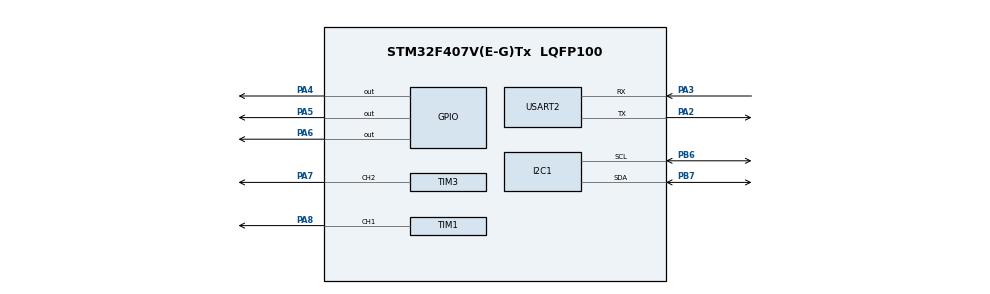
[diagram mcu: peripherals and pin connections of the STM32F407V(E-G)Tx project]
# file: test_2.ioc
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I2C1.I2C_Mode=I2C_Fast
Mcu.Family=STM32F4
Mcu.Name=STM32F407V(E-G)Tx
Mcu.Package=LQFP100
NVIC.PriorityGroup=NVIC_PRIORITYGROUP_4
PA13.Mode=Serial_Wire
PA13.Signal=SYS_JTMS-SWDIO
PA14.Mode=Serial_Wire
PA14.Signal=SYS_JTCK-SWCLK
PA2.Mode=Asynchronous
PA2.Signal=USART2_TX
PA3.Mode=Asynchronous
PA3.Signal=USART2_RX
PA4.Signal=GPIO_Output
PA5.Signal=GPIO_Output
PA6.Signal=GPIO_Output
PA7.Signal=S_TIM3_CH2
PA8.Signal=S_TIM1_CH1
PB6.Mode=I2C
PB6.Signal=I2C1_SCL
PB7.Mode=I2C
PB7.Signal=I2C1_SDA
PH0-OSC_IN.Mode=HSE-External-Oscillator
PH0-OSC_IN.Signal=RCC_OSC_IN
PH1-OSC_OUT.Mode=HSE-External-Oscillator
PH1-OSC_OUT.Signal=RCC_OSC_OUT
ProjectManager.HeapSize=0x200
ProjectManager.StackSize=0x400
ProjectManager.TargetToolchain=STM32CubeIDE
RCC.48MHZClocksFreq_Value=84000000
RCC.AHBFreq_Value=168000000
RCC.APB1CLKDivider=RCC_HCLK_DIV4
RCC.APB1Freq_Value=42000000
RCC.APB1TimFreq_Value=84000000
RCC.APB2CLKDivider=RCC_HCLK_DIV2
RCC.APB2Freq_Value=84000000
RCC.APB2TimFreq_Value=168000000
RCC.CortexFreq_Value=168000000
RCC.HCLKFreq_Value=168000000
RCC.HSE_VALUE=8000000
RCC.HSI_VALUE=16000000
RCC.LSE_VALUE=32768
RCC.PLLM=8
RCC.PLLN=336
RCC.PLLSourceVirtual=RCC_PLLSOURCE_HSE
RCC.SYSCLKFreq_VALUE=168000000
RCC.SYSCLKSource=RCC_SYSCLKSOURCE_PLLCLK
RCC.VCOOutputFreq_Value=336000000
SH.S_TIM1_CH1.0=TIM1_CH1,PWM Generation1 CH1
SH.S_TIM3_CH2.0=TIM3_CH2,PWM Generation2 CH2
TIM1.AutoReloadPreload=TIM_AUTORELOAD_PRELOAD_ENABLE
TIM1.Channel-PWM\ Generation1\ CH1=TIM_CHANNEL_1
TIM1.Period=2000-1
TIM1.Prescaler=84-1
TIM1.Pulse-PWM\ Generation1\ CH1=1000
TIM3.Channel-PWM\ Generation2\ CH2=TIM_CHANNEL_2
TIM3.Period=1000-1
TIM3.Prescaler=168-1
USART2.VirtualMode=VM_ASYNC
VP_TIM1_VS_ClockSourceINT.Mode=Internal
board=custom

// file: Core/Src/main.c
/* USER CODE BEGIN Header */
/**
******************************************************************************
* @file : main.c
* @brief : Main program body
******************************************************************************
* @attention
*
* Copyright (c) 2026 STMicroelectronics.
* All rights reserved.
*
* This software is licensed under terms that can be found in the LICENSE file
* in the root directory of this software component.
* If no LICENSE file comes with this software, it is provided AS-IS.
*
******************************************************************************
*/
/* USER CODE END Header */
#include "main.h"

/* USER CODE BEGIN Includes */
#include <stdio.h>
#include <string.h>
#include <math.h>
/* USER CODE END Includes */

/* USER CODE BEGIN PTD */
// ==================== 数据类型定义 ====================
typedef struct {
int16_t x;
int16_t y;
int16_t z;
} imu_vector_t;

typedef struct {
imu_vector_t accel;
imu_vector_t gyro;
imu_vector_t mag;
int16_t temperature;
} imu_9dof_data_t;

// ==================== 姿态数据结构 ====================
typedef struct {
float roll;
float pitch;
float heading;
} attitude_t;

// ==================== 电机动作状态枚举 ====================
typedef enum {
ACTION_STOP,
ACTION_FORWARD,
ACTION_BACKWARD
} MotorAction_t;
/* USER CODE END PTD */

/* USER CODE BEGIN PD */
// ==================== ICM20600 定义 ====================
#define ICM20600_WHO_AM_I 0x75
#define ICM20600_WHO_AM_I_VALUE 0x11
#define ICM20600_PWR_MGMT_1 0x6B
#define ICM20600_PWR_MGMT_2 0x6C
#define ICM20600_ACCEL_CONFIG 0x1C
#define ICM20600_GYRO_CONFIG 0x1B
#define ICM20600_CONFIG 0x1A
#define ICM20600_ACCEL_XOUT_H 0x3B
#define ICM20600_GYRO_XOUT_H 0x43
#define ICM20600_TEMP_OUT_H 0x41

// ==================== AK09918 定义 ====================
#define AK09918_ADDRESS (0x0C << 1)
#define AK09918_WIA1 0x00
#define AK09918_WIA2 0x01
#define AK09918_COMPANY_ID 0x48
#define AK09918_DEVICE_ID 0x0C
#define AK09918_HXL 0x11
#define AK09918_CNTL2 0x31
#define AK09918_CNTL1 0x30
#define AK09918_ST1 0x10
#define AK09918_ST2 0x18
#define AK09918_MODE_POWER_DOWN 0x00
#define AK09918_MODE_CONTINUOUS_100HZ 0x08

// ==================== 电机控制参数 ====================
#define TARGET_ROLL 0.0f // 目标横滚角 (度)
#define TARGET_PITCH 5.0f // 目标俯仰角 (度)
#define ANGLE_DEADBAND 1.5f // 死区大小 (±1.5度)
#define ANGLE_HYSTERESIS 0.5f // 滞回值
/* USER CODE END PD */

I2C_HandleTypeDef hi2c1;

TIM_HandleTypeDef htim1;
TIM_HandleTypeDef htim3;

UART_HandleTypeDef huart2;

/* USER CODE BEGIN PV */
// ==================== 全局变量 ====================
uint8_t imu_initialized = 0;
uint8_t icm20600_addr = 0x69;
uint32_t i2c_error_count = 0;

imu_9dof_data_t imu_data;
attitude_t attitude;

// 电机状态变量
static MotorAction_t roll_action = ACTION_STOP;
static MotorAction_t pitch_action = ACTION_STOP;
/* USER CODE END PV */

void SystemClock_Config(void);
static void MX_GPIO_Init(void);
static void MX_I2C1_Init(void);
static void MX_USART2_UART_Init(void);
static void MX_TIM1_Init(void);
static void MX_TIM3_Init(void);
/* USER CODE BEGIN PFP */
// ==================== IMU函数声明 ====================
void I2C_Init(void);
void I2C_RecoverBus(void);
uint8_t ICM20600_Check(void);
uint8_t ICM20600_Init(void);
HAL_StatusTypeDef ICM20600_ReadAccel(imu_vector_t *accel);
HAL_StatusTypeDef ICM20600_ReadGyro(imu_vector_t *gyro);
HAL_StatusTypeDef ICM20600_ReadTemp(int16_t *temp);
uint8_t AK09918_Check(void);
uint8_t AK09918_Init(void);
uint8_t AK09918_ReadMag(imu_vector_t *mag);
uint8_t IMU_Init(void);
uint8_t IMU_ReadAll(imu_9dof_data_t *data);
void CalculateAttitude(imu_9dof_data_t *data, attitude_t *att);
void PrintAttitude(attitude_t *att);
void I2C_Scan(void);

// ==================== 电机控制函数声明 ====================
static void Control_Roll(float current_roll);
static void Control_Pitch(float current_pitch);
static void Set_Roll_Motor(MotorAction_t action);
static void Set_Pitch_Motor(MotorAction_t action);
/* USER CODE END PFP */

/* USER CODE BEGIN 0 */
// ==================== I2C读写函数 ====================
uint8_t I2C_ReadReg(uint16_t dev_addr, uint8_t reg, uint8_t *data) {
return HAL_I2C_Mem_Read(&hi2c1, dev_addr, reg, I2C_MEMADD_SIZE_8BIT, data, 1, 100);
}

uint8_t I2C_WriteReg(uint16_t dev_addr, uint8_t reg, uint8_t data) {
return HAL_I2C_Mem_Write(&hi2c1, dev_addr, reg, I2C_MEMADD_SIZE_8BIT, &data, 1, 100);
}

uint8_t I2C_ReadRegs(uint16_t dev_addr, uint8_t reg, uint8_t *data, uint8_t len) {
return HAL_I2C_Mem_Read(&hi2c1, dev_addr, reg, I2C_MEMADD_SIZE_8BIT, data, len, 100);
}

// ==================== 重定向printf ====================
int fputc(int ch, FILE *f) {
HAL_UART_Transmit(&huart2, (uint8_t *)&ch, 1, 100);
return ch;
}

// ==================== I2C总线恢复函数 ====================
void I2C_RecoverBus(void) {
GPIO_InitTypeDef GPIO_InitStruct = {0};

printf("\r\n⚠️ I2C bus error detected! Recovering...\r\n");

HAL_I2C_DeInit(&hi2c1);

GPIO_InitStruct.Pin = GPIO_PIN_6 | GPIO_PIN_7;
GPIO_InitStruct.Mode = GPIO_MODE_OUTPUT_PP;
GPIO_InitStruct.Pull = GPIO_NOPULL;
GPIO_InitStruct.Speed = GPIO_SPEED_FREQ_LOW;
HAL_GPIO_Init(GPIOB, &GPIO_InitStruct);

for(int i = 0; i < 9; i++) {
HAL_GPIO_WritePin(GPIOB, GPIO_PIN_6, GPIO_PIN_SET);
HAL_Delay(1);
HAL_GPIO_WritePin(GPIOB, GPIO_PIN_6, GPIO_PIN_RESET);
HAL_Delay(1);
}

HAL_GPIO_WritePin(GPIOB, GPIO_PIN_7, GPIO_PIN_RESET);
HAL_GPIO_WritePin(GPIOB, GPIO_PIN_6, GPIO_PIN_SET);
HAL_Delay(1);
HAL_GPIO_WritePin(GPIOB, GPIO_PIN_7, GPIO_PIN_SET);
HAL_Delay(1);

HAL_Delay(10);
I2C_Init();

printf("I2C bus recovered!\r\n");
i2c_error_count = 0;
}

// ==================== I2C初始化 ====================
void I2C_Init(void) {
__HAL_RCC_I2C1_CLK_ENABLE();
__HAL_RCC_GPIOB_CLK_ENABLE();

GPIO_InitTypeDef GPIO_InitStruct = {0};
GPIO_InitStruct.Pin = GPIO_PIN_6 | GPIO_PIN_7;
GPIO_InitStruct.Mode = GPIO_MODE_AF_OD;
GPIO_InitStruct.Pull = GPIO_PULLUP;
GPIO_InitStruct.Speed = GPIO_SPEED_FREQ_VERY_HIGH;
GPIO_InitStruct.Alternate = GPIO_AF4_I2C1;
HAL_GPIO_Init(GPIOB, &GPIO_InitStruct);

hi2c1.Instance = I2C1;
hi2c1.Init.ClockSpeed = 100000;
hi2c1.Init.DutyCycle = I2C_DUTYCYCLE_2;
hi2c1.Init.OwnAddress1 = 0;
hi2c1.Init.AddressingMode = I2C_ADDRESSINGMODE_7BIT;
hi2c1.Init.DualAddressMode = I2C_DUALADDRESS_DISABLE;
hi2c1.Init.OwnAddress2 = 0;
hi2c1.Init.GeneralCallMode = I2C_GENERALCALL_DISABLE;
hi2c1.Init.NoStretchMode = I2C_NOSTRETCH_DISABLE;
HAL_I2C_Init(&hi2c1);
}

// ==================== I2C扫描函数 ====================
void I2C_Scan(void) {
uint8_t found_devices = 0;
char buf[32];

HAL_UART_Transmit(&huart2, (uint8_t*)"\r\nScanning I2C bus...\r\n", 25, 100);

for (uint8_t addr = 1; addr < 127; addr++) {
if (HAL_I2C_IsDeviceReady(&hi2c1, (addr << 1), 3, 50) == HAL_OK) {
sprintf(buf, "Found device at 0x%02X\r\n", addr);
HAL_UART_Transmit(&huart2, (uint8_t*)buf, strlen(buf), 100);
found_devices++;
}
}

if (found_devices == 0) {
HAL_UART_Transmit(&huart2, (uint8_t*)"No I2C devices found!\r\n", 24, 100);
} else {
sprintf(buf, "Total %d devices found\r\n", found_devices);
HAL_UART_Transmit(&huart2, (uint8_t*)buf, strlen(buf), 100);
}
}

// ==================== ICM20600 函数 ====================
uint8_t ICM20600_Check(void) {
uint8_t who_am_i = 0;
char buf[64];

if (HAL_I2C_Mem_Read(&hi2c1, (0x68 << 1), ICM20600_WHO_AM_I,
I2C_MEMADD_SIZE_8BIT, &who_am_i, 1, 100) == HAL_OK) {
if (who_am_i == ICM20600_WHO_AM_I_VALUE) {
icm20600_addr = 0x68;
sprintf(buf, "ICM20600 found at 0x68 (ID=0x%02X)\r\n", who_am_i);
HAL_UART_Transmit(&huart2, (uint8_t*)buf, strlen(buf), 100);
return 1;
}
}

if (HAL_I2C_Mem_Read(&hi2c1, (0x69 << 1), ICM20600_WHO_AM_I,
I2C_MEMADD_SIZE_8BIT, &who_am_i, 1, 100) == HAL_OK) {
if (who_am_i == ICM20600_WHO_AM_I_VALUE) {
icm20600_addr = 0x69;
sprintf(buf, "ICM20600 found at 0x69 (ID=0x%02X)\r\n", who_am_i);
HAL_UART_Transmit(&huart2, (uint8_t*)buf, strlen(buf), 100);
return 1;
}
}
return 0;
}

uint8_t ICM20600_Init(void) {
uint16_t dev_addr = icm20600_addr << 1;

printf(" Resetting...");
if (I2C_WriteReg(dev_addr, ICM20600_PWR_MGMT_1, 0x80) != HAL_OK) {
printf(" FAILED\r\n");
return 0;
}
printf(" OK\r\n");
HAL_Delay(100);

printf(" Waking up...");
if (I2C_WriteReg(dev_addr, ICM20600_PWR_MGMT_1, 0x01) != HAL_OK) {
printf(" FAILED\r\n");
return 0;
}
printf(" OK\r\n");
HAL_Delay(10);

printf(" Configuring gyro...");
I2C_WriteReg(dev_addr, ICM20600_GYRO_CONFIG, 0x18);
printf(" OK\r\n");

printf(" Configuring accel...");
I2C_WriteReg(dev_addr, ICM20600_ACCEL_CONFIG, 0x18);
printf(" OK\r\n");

printf(" Configuring filter...");
I2C_WriteReg(dev_addr, ICM20600_CONFIG, 0x01);
printf(" OK\r\n");

return 1;
}

HAL_StatusTypeDef ICM20600_ReadAccel(imu_vector_t *accel) {
uint16_t dev_addr = icm20600_addr << 1;
uint8_t data[6];
HAL_StatusTypeDef status = I2C_ReadRegs(dev_addr, ICM20600_ACCEL_XOUT_H, data, 6);

if (status == HAL_OK) {
accel->x = (int16_t)(data[0] << 8 | data[1]);
accel->y = (int16_t)(data[2] << 8 | data[3]);
accel->z = (int16_t)(data[4] << 8 | data[5]);
}
return status;
}

HAL_StatusTypeDef ICM20600_ReadGyro(imu_vector_t *gyro) {
uint16_t dev_addr = icm20600_addr << 1;
uint8_t data[6];
HAL_StatusTypeDef status = I2C_ReadRegs(dev_addr, ICM20600_GYRO_XOUT_H, data, 6);

if (status == HAL_OK) {
gyro->x = (int16_t)(data[0] << 8 | data[1]);
gyro->y = (int16_t)(data[2] << 8 | data[3]);
gyro->z = (int16_t)(data[4] << 8 | data[5]);
}
return status;
}

HAL_StatusTypeDef ICM20600_ReadTemp(int16_t *temp) {
uint16_t dev_addr = icm20600_addr << 1;
uint8_t data[2];
HAL_StatusTypeDef status = I2C_ReadRegs(dev_addr, ICM20600_TEMP_OUT_H, data, 2);

if (status == HAL_OK) {
*temp = (int16_t)(data[0] << 8 | data[1]);
}
return status;
}

// ==================== AK09918 函数 ====================
uint8_t AK09918_Check(void) {
uint8_t company_id = 0;
uint8_t device_id = 0;
char buf[64];

if (HAL_I2C_Mem_Read(&hi2c1, AK09918_ADDRESS, AK09918_WIA1,
I2C_MEMADD_SIZE_8BIT, &company_id, 1, 100) == HAL_OK) {
HAL_I2C_Mem_Read(&hi2c1, AK09918_ADDRESS, AK09918_WIA2,
I2C_MEMADD_SIZE_8BIT, &device_id, 1, 100);

sprintf(buf, "AK09918 Company ID=0x%02X, Device ID=0x%02X\r\n", company_id, device_id);
HAL_UART_Transmit(&huart2, (uint8_t*)buf, strlen(buf), 100);

return (company_id == AK09918_COMPANY_ID && device_id == AK09918_DEVICE_ID);
}
return 0;
}

uint8_t AK09918_Init(void) {
uint8_t status;
uint8_t chip_id;
uint8_t cntl1_val;
uint8_t cntl2_val;
uint8_t test_val;

printf("\r\n=== AK09918 Debug ===\r\n");

I2C_ReadReg(AK09918_ADDRESS, AK09918_WIA2, &chip_id);
printf("WIA2 = 0x%02X (should be 0x%02X)\r\n", chip_id, AK09918_DEVICE_ID);

if (chip_id != AK09918_DEVICE_ID) {
printf("❌ AK09918 ID mismatch!\r\n");
return 0;
}

I2C_ReadReg(AK09918_ADDRESS, 0x31, &cntl2_val);
I2C_ReadReg(AK09918_ADDRESS, 0x30, &cntl1_val);
printf("Before init - CNTL1=0x%02X, CNTL2=0x%02X\r\n", cntl1_val, cntl2_val);

I2C_WriteReg(AK09918_ADDRESS, 0x32, 0x01);
HAL_Delay(10);

I2C_ReadReg(AK09918_ADDRESS, 0x31, &cntl2_val);
I2C_ReadReg(AK09918_ADDRESS, 0x30, &cntl1_val);
printf("After reset - CNTL1=0x%02X, CNTL2=0x%02X\r\n", cntl1_val, cntl2_val);

printf("Setting power down mode...");
I2C_WriteReg(AK09918_ADDRESS, AK09918_CNTL2, AK09918_MODE_POWER_DOWN);
HAL_Delay(10);
I2C_ReadReg(AK09918_ADDRESS, 0x31, &cntl2_val);
printf(" CNTL2=0x%02X\r\n", cntl2_val);

printf("Setting continuous mode 100Hz...");
if (I2C_WriteReg(AK09918_ADDRESS, AK09918_CNTL2, AK09918_MODE_CONTINUOUS_100HZ) != HAL_OK) {
printf(" FAILED\r\n");
return 0;
}
HAL_Delay(10);

I2C_ReadReg(AK09918_ADDRESS, AK09918_CNTL2, &status);
printf(" CNTL2=0x%02X ", status);

I2C_ReadReg(AK09918_ADDRESS, AK09918_CNTL1, &cntl1_val);
printf("CNTL1=0x%02X\r\n", cntl1_val);

I2C_WriteReg(AK09918_ADDRESS, 0x30, 0x5A);
HAL_Delay(1);
I2C_ReadReg(AK09918_ADDRESS, 0x30, &test_val);
printf("Write test - wrote 0x5A, read 0x%02X\r\n", test_val);

I2C_WriteReg(AK09918_ADDRESS, 0x30, cntl1_val);

printf("=== End Debug ===\r\n");

return (status == AK09918_MODE_CONTINUOUS_100HZ);
}

uint8_t AK09918_ReadMag(imu_vector_t *mag) {
uint8_t data[6];
uint8_t st1, st2;

I2C_ReadReg(AK09918_ADDRESS, AK09918_ST1, &st1);

if (!(st1 & 0x01)) {
static uint32_t no_data_cnt = 0;
if (no_data_cnt++ % 50 == 0) {
printf("No mag data (ST1=0x%02X)\r\n", st1);
}
return 0;
}

if (I2C_ReadRegs(AK09918_ADDRESS, AK09918_HXL, data, 6) == HAL_OK) {
mag->x = (int16_t)(data[1] << 8 | data[0]);
mag->y = (int16_t)(data[3] << 8 | data[2]);
mag->z = (int16_t)(data[5] << 8 | data[4]);

I2C_ReadReg(AK09918_ADDRESS, AK09918_ST2, &st2);

static uint32_t print_cnt = 0;
if (print_cnt++ % 10 == 0 || mag->x != 0 || mag->y != 0) {
printf("\r\nAK09918: ST1=0x%02X, ST2=0x%02X, X=%6d Y=%6d Z=%6d ",
st1, st2, mag->x, mag->y, mag->z);
}

return 1;
}
return 0;
}

// ==================== IMU综合函数 ====================
uint8_t IMU_Init(void) {
HAL_UART_Transmit(&huart2, (uint8_t*)"\r\nChecking ICM20600...\r\n", 25, 100);

if (!ICM20600_Check()) {
HAL_UART_Transmit(&huart2, (uint8_t*)"❌ ICM20600 not detected!\r\n", 28, 100);
return 0;
}

HAL_UART_Transmit(&huart2, (uint8_t*)"Checking AK09918...\r\n", 22, 100);
if (!AK09918_Check()) {
HAL_UART_Transmit(&huart2, (uint8_t*)"❌ AK09918 not detected!\r\n", 27, 100);
return 0;
}

HAL_UART_Transmit(&huart2, (uint8_t*)"Initializing ICM20600...\r\n", 26, 100);
if (!ICM20600_Init()) {
HAL_UART_Transmit(&huart2, (uint8_t*)" FAILED\r\n", 10, 100);
return 0;
}
HAL_UART_Transmit(&huart2, (uint8_t*)" OK\r\n", 6, 100);

HAL_UART_Transmit(&huart2, (uint8_t*)"Initializing AK09918...\r\n", 25, 100);
if (!AK09918_Init()) {
HAL_UART_Transmit(&huart2, (uint8_t*)" FAILED\r\n", 10, 100);
return 0;
}
HAL_UART_Transmit(&huart2, (uint8_t*)" OK\r\n", 6, 100);

return 1;
}

uint8_t IMU_ReadAll(imu_9dof_data_t *data) {
uint8_t success = 1;

if (ICM20600_ReadAccel(&data->accel) != HAL_OK) success = 0;
if (ICM20600_ReadGyro(&data->gyro) != HAL_OK) success = 0;
if (ICM20600_ReadTemp(&data->temperature) != HAL_OK) success = 0;

AK09918_ReadMag(&data->mag);

return success;
}

// ==================== 姿态计算函数 ====================
void CalculateAttitude(imu_9dof_data_t *data, attitude_t *att) {
float ax = data->accel.x * 16.0f / 32768.0f;
float ay = data->accel.y * 16.0f / 32768.0f;
float az = data->accel.z * 16.0f / 32768.0f;

float mx = data->mag.x * 0.15f;
float my = data->mag.y * 0.15f;
float mz = data->mag.z * 0.15f;

att->roll = atan2f(ay, az);
float accel_norm = sqrtf(ay*ay + az*az);
att->pitch = atan2f(-ax, accel_norm);

float cos_roll = cosf(att->roll);
float sin_roll = sinf(att->roll);
float cos_pitch = cosf(att->pitch);
float sin_pitch = sinf(att->pitch);

float Xh = mx * cos_pitch + my * sin_roll * sin_pitch + mz * cos_roll * sin_pitch;
float Yh = my * cos_roll - mz * sin_roll;

float heading_rad = atan2f(Yh, Xh);
att->heading = heading_rad * 180.0f / 3.14159f;

att->heading += -2.0f;

if (att->heading < 0) att->heading += 360.0f;
if (att->heading >= 360.0f) att->heading -= 360.0f;

att->roll *= 180.0f / 3.14159f;
att->pitch *= 180.0f / 3.14159f;
}

// ==================== 打印姿态函数 ====================
void PrintAttitude(attitude_t *att) {
char buffer[64];
sprintf(buffer, "\r\nRoll: %6.2f° Pitch: %6.2f° Heading: %6.2f° ",
att->roll, att->pitch, att->heading);
HAL_UART_Transmit(&huart2, (uint8_t*)buffer, strlen(buffer), 100);
}
/* USER CODE BEGIN 4 */
// ==================== 新增：打印PA4-PA8引脚状态 ====================
void Print_GPIO_Status(void) {
char buffer[64];

// 读取GPIOA端口的输入数据寄存器
uint16_t gpio_idr = GPIOA->IDR;

// 解析每个引脚的状态 (0 或 1)
uint8_t pa4_state = (gpio_idr & GPIO_PIN_4) ? 1 : 0;
uint8_t pa5_state = (gpio_idr & GPIO_PIN_5) ? 1 : 0;
uint8_t pa6_state = (gpio_idr & GPIO_PIN_6) ? 1 : 0;
uint8_t pa7_state = (gpio_idr & GPIO_PIN_7) ? 1 : 0;
uint8_t pa8_state = (gpio_idr & GPIO_PIN_8) ? 1 : 0;

// 检查PWM是否正在输出 (对于PA7和PA8，可以通过定时器状态判断)
uint8_t tim1_running = (htim1.State == HAL_TIM_STATE_BUSY) ? 1 : 0;
uint8_t tim3_running = (htim3.State == HAL_TIM_STATE_BUSY) ? 1 : 0;

sprintf(buffer, "GPIO: PA4=%d PA5=%d PA6=%d | PWM: PA7(TIM3)=%d PA8(TIM1)=%d | TIM1:%d TIM3:%d\r\n",
pa4_state, pa5_state, pa6_state,
pa7_state, pa8_state,
tim1_running, tim3_running);

HAL_UART_Transmit(&huart2, (uint8_t*)buffer, strlen(buffer), 100);
}
// ==================== 电机控制函数 ====================
static void Set_Roll_Motor(MotorAction_t action) {
switch (action) {
case ACTION_STOP:
// 停止步进电机 - 停止发送脉冲
HAL_TIM_PWM_Stop(&htim1, TIM_CHANNEL_1);
break;
case ACTION_FORWARD:
// 设置方向为正转 (假设PA4高电平为正转)
HAL_GPIO_WritePin(GPIOA, GPIO_PIN_4, GPIO_PIN_SET);
// 启动PWM输出脉冲
__HAL_TIM_SET_COMPARE(&htim1, TIM_CHANNEL_1, 1000); // 50%占空比
HAL_TIM_PWM_Start(&htim1, TIM_CHANNEL_1);
break;
case ACTION_BACKWARD:
// 设置方向为反转 (假设PA4低电平为反转)
HAL_GPIO_WritePin(GPIOA, GPIO_PIN_4, GPIO_PIN_RESET);
// 启动PWM输出脉冲
__HAL_TIM_SET_COMPARE(&htim1, TIM_CHANNEL_1, 1000);
HAL_TIM_PWM_Start(&htim1, TIM_CHANNEL_1);
break;
}
}

static void Set_Pitch_Motor(MotorAction_t action) {
switch (action) {
case ACTION_STOP:
// 停止推杆 - PWM设为0
__HAL_TIM_SET_COMPARE(&htim3, TIM_CHANNEL_2, 0);
HAL_GPIO_WritePin(GPIOA, GPIO_PIN_6, GPIO_PIN_RESET);
break;
case ACTION_FORWARD:
// 推杆伸出 (假设PA6高电平为伸出)
HAL_GPIO_WritePin(GPIOA, GPIO_PIN_6, GPIO_PIN_SET);
// 设置PWM为合适速度 (500 = 50%占空比)
__HAL_TIM_SET_COMPARE(&htim3, TIM_CHANNEL_2, 500);
HAL_TIM_PWM_Start(&htim3, TIM_CHANNEL_2);
break;
case ACTION_BACKWARD:
// 推杆缩回 (假设PA6低电平为缩回)
HAL_GPIO_WritePin(GPIOA, GPIO_PIN_6, GPIO_PIN_RESET);
// 设置PWM为合适速度
__HAL_TIM_SET_COMPARE(&htim3, TIM_CHANNEL_2, 500);
HAL_TIM_PWM_Start(&htim3, TIM_CHANNEL_2);
break;
}
}

static void Control_Roll(float current_roll) {
float error = TARGET_ROLL - current_roll;

switch (roll_action) {
case ACTION_STOP:
if (error > (ANGLE_DEADBAND + ANGLE_HYSTERESIS)) {
roll_action = ACTION_FORWARD;
Set_Roll_Motor(ACTION_FORWARD);
printf("Roll Start Forward\r\n");
} else if (error < -(ANGLE_DEADBAND + ANGLE_HYSTERESIS)) {
roll_action = ACTION_BACKWARD;
Set_Roll_Motor(ACTION_BACKWARD);
printf("Roll Start Backward\r\n");
}
break;

case ACTION_FORWARD:
if (error < ANGLE_DEADBAND) {
roll_action = ACTION_STOP;
Set_Roll_Motor(ACTION_STOP);
printf("Roll Stop\r\n");
}
break;

case ACTION_BACKWARD:
if (error > -ANGLE_DEADBAND) {
roll_action = ACTION_STOP;
Set_Roll_Motor(ACTION_STOP);
printf("Roll Stop\r\n");
}
break;
}
}

static void Control_Pitch(float current_pitch) {
float error = TARGET_PITCH - current_pitch;

switch (pitch_action) {
case ACTION_STOP:
if (error > (ANGLE_DEADBAND + ANGLE_HYSTERESIS)) {
pitch_action = ACTION_FORWARD;
Set_Pitch_Motor(ACTION_FORWARD);
printf("Pitch Start Forward\r\n");
} else if (error < -(ANGLE_DEADBAND + ANGLE_HYSTERESIS)) {
pitch_action = ACTION_BACKWARD;
Set_Pitch_Motor(ACTION_BACKWARD);
printf("Pitch Start Backward\r\n");
}
break;

case ACTION_FORWARD:
if (error < ANGLE_DEADBAND) {
pitch_action = ACTION_STOP;
Set_Pitch_Motor(ACTION_STOP);
printf("Pitch Stop\r\n");
}
break;

case ACTION_BACKWARD:
if (error > -ANGLE_DEADBAND) {
pitch_action = ACTION_STOP;
Set_Pitch_Motor(ACTION_STOP);
printf("Pitch Stop\r\n");
}
break;
}
}
/* USER CODE END 0 */

int main(void)
{

/* Reset of all peripherals, Initializes the Flash interface and the Systick. */
HAL_Init();

/* Configure the system clock */
SystemClock_Config();

/* Initialize all configured peripherals */
MX_GPIO_Init();
MX_I2C1_Init();
MX_USART2_UART_Init();
MX_TIM1_Init();
MX_TIM3_Init();
/* USER CODE BEGIN 2 */
// 初始化I2C
printf("\r\n========================================\r\n");
printf("STM32F407 + ICM20600 + AK09918 Test\r\n");
printf("========================================\r\n\r\n");

printf("Initializing I2C...\r\n");
I2C_Init();

I2C_Scan();

imu_initialized = IMU_Init();

if (imu_initialized) {
printf("\r\n✅ IMU initialized successfully!\r\n");
printf("========================================\r\n\r\n");
} else {
printf("\r\n❌ IMU initialization failed!\r\n");
}

// 初始化电机控制引脚为停止状态
Set_Roll_Motor(ACTION_STOP);
Set_Pitch_Motor(ACTION_STOP);
/* USER CODE END 2 */

/* Infinite loop */
/* USER CODE BEGIN WHILE */
uint32_t count = 0;
while (1)
{
if (imu_initialized) {
IMU_ReadAll(&imu_data);
CalculateAttitude(&imu_data, &attitude);

// 每5次循环打印姿态和GPIO状态
if (count % 5 == 0) {
PrintAttitude(&attitude); // 打印姿态角
Print_GPIO_Status(); // 打印GPIO状态
}

// 每5次循环执行一次电机控制
if (count % 5 == 0) {
Control_Roll(attitude.roll);
Control_Pitch(attitude.pitch);
}

count++;
HAL_Delay(100);
} else {
printf(".");
fflush(stdout);
HAL_Delay(1000);
}
}
/* USER CODE END WHILE */

}

void SystemClock_Config(void)
{
RCC_OscInitTypeDef RCC_OscInitStruct = {0};
RCC_ClkInitTypeDef RCC_ClkInitStruct = {0};

/** Configure the main internal regulator output voltage
*/
__HAL_RCC_PWR_CLK_ENABLE();
__HAL_PWR_VOLTAGESCALING_CONFIG(PWR_REGULATOR_VOLTAGE_SCALE1);

/** Initializes the RCC Oscillators according to the specified parameters
* in the RCC_OscInitTypeDef structure.
*/
RCC_OscInitStruct.OscillatorType = RCC_OSCILLATORTYPE_HSE;
RCC_OscInitStruct.HSEState = RCC_HSE_ON;
RCC_OscInitStruct.PLL.PLLState = RCC_PLL_ON;
RCC_OscInitStruct.PLL.PLLSource = RCC_PLLSOURCE_HSE;
RCC_OscInitStruct.PLL.PLLM = 8;
RCC_OscInitStruct.PLL.PLLN = 336;
RCC_OscInitStruct.PLL.PLLP = RCC_PLLP_DIV2;
RCC_OscInitStruct.PLL.PLLQ = 4;
if (HAL_RCC_OscConfig(&RCC_OscInitStruct) != HAL_OK)
{
Error_Handler();
}

/** Initializes the CPU, AHB and APB buses clocks
*/
RCC_ClkInitStruct.ClockType = RCC_CLOCKTYPE_HCLK|RCC_CLOCKTYPE_SYSCLK
|RCC_CLOCKTYPE_PCLK1|RCC_CLOCKTYPE_PCLK2;
RCC_ClkInitStruct.SYSCLKSource = RCC_SYSCLKSOURCE_PLLCLK;
RCC_ClkInitStruct.AHBCLKDivider = RCC_SYSCLK_DIV1;
RCC_ClkInitStruct.APB1CLKDivider = RCC_HCLK_DIV4;
RCC_ClkInitStruct.APB2CLKDivider = RCC_HCLK_DIV2;

if (HAL_RCC_ClockConfig(&RCC_ClkInitStruct, FLASH_LATENCY_5) != HAL_OK)
{
Error_Handler();
}
}

static void MX_I2C1_Init(void)
{

hi2c1.Instance = I2C1;
hi2c1.Init.ClockSpeed = 400000;
hi2c1.Init.DutyCycle = I2C_DUTYCYCLE_2;
hi2c1.Init.OwnAddress1 = 0;
hi2c1.Init.AddressingMode = I2C_ADDRESSINGMODE_7BIT;
hi2c1.Init.DualAddressMode = I2C_DUALADDRESS_DISABLE;
hi2c1.Init.OwnAddress2 = 0;
hi2c1.Init.GeneralCallMode = I2C_GENERALCALL_DISABLE;
hi2c1.Init.NoStretchMode = I2C_NOSTRETCH_DISABLE;
if (HAL_I2C_Init(&hi2c1) != HAL_OK)
{
Error_Handler();
}

}

static void MX_TIM1_Init(void)
{

TIM_ClockConfigTypeDef sClockSourceConfig = {0};
TIM_MasterConfigTypeDef sMasterConfig = {0};
TIM_OC_InitTypeDef sConfigOC = {0};
TIM_BreakDeadTimeConfigTypeDef sBreakDeadTimeConfig = {0};

htim1.Instance = TIM1;
htim1.Init.Prescaler = 84-1;
htim1.Init.CounterMode = TIM_COUNTERMODE_UP;
htim1.Init.Period = 2000-1;
htim1.Init.ClockDivision = TIM_CLOCKDIVISION_DIV1;
htim1.Init.RepetitionCounter = 0;
htim1.Init.AutoReloadPreload = TIM_AUTORELOAD_PRELOAD_ENABLE;
if (HAL_TIM_Base_Init(&htim1) != HAL_OK)
{
Error_Handler();
}
sClockSourceConfig.ClockSource = TIM_CLOCKSOURCE_INTERNAL;
if (HAL_TIM_ConfigClockSource(&htim1, &sClockSourceConfig) != HAL_OK)
{
Error_Handler();
}
if (HAL_TIM_PWM_Init(&htim1) != HAL_OK)
{
Error_Handler();
}
sMasterConfig.MasterOutputTrigger = TIM_TRGO_RESET;
sMasterConfig.MasterSlaveMode = TIM_MASTERSLAVEMODE_DISABLE;
if (HAL_TIMEx_MasterConfigSynchronization(&htim1, &sMasterConfig) != HAL_OK)
{
Error_Handler();
}
sConfigOC.OCMode = TIM_OCMODE_PWM1;
sConfigOC.Pulse = 1000;
sConfigOC.OCPolarity = TIM_OCPOLARITY_HIGH;
sConfigOC.OCNPolarity = TIM_OCNPOLARITY_HIGH;
sConfigOC.OCFastMode = TIM_OCFAST_DISABLE;
sConfigOC.OCIdleState = TIM_OCIDLESTATE_RESET;
sConfigOC.OCNIdleState = TIM_OCNIDLESTATE_RESET;
if (HAL_TIM_PWM_ConfigChannel(&htim1, &sConfigOC, TIM_CHANNEL_1) != HAL_OK)
{
Error_Handler();
}
sBreakDeadTimeConfig.OffStateRunMode = TIM_OSSR_DISABLE;
sBreakDeadTimeConfig.OffStateIDLEMode = TIM_OSSI_DISABLE;
sBreakDeadTimeConfig.LockLevel = TIM_LOCKLEVEL_OFF;
sBreakDeadTimeConfig.DeadTime = 0;
sBreakDeadTimeConfig.BreakState = TIM_BREAK_DISABLE;
sBreakDeadTimeConfig.BreakPolarity = TIM_BREAKPOLARITY_HIGH;
sBreakDeadTimeConfig.AutomaticOutput = TIM_AUTOMATICOUTPUT_DISABLE;
if (HAL_TIMEx_ConfigBreakDeadTime(&htim1, &sBreakDeadTimeConfig) != HAL_OK)
{
Error_Handler();
}
HAL_TIM_MspPostInit(&htim1);

}

static void MX_TIM3_Init(void)
{

TIM_MasterConfigTypeDef sMasterConfig = {0};
TIM_OC_InitTypeDef sConfigOC = {0};

htim3.Instance = TIM3;
htim3.Init.Prescaler = 168-1;
htim3.Init.CounterMode = TIM_COUNTERMODE_UP;
htim3.Init.Period = 1000-1;
htim3.Init.ClockDivision = TIM_CLOCKDIVISION_DIV1;
htim3.Init.AutoReloadPreload = TIM_AUTORELOAD_PRELOAD_DISABLE;
if (HAL_TIM_PWM_Init(&htim3) != HAL_OK)
{
Error_Handler();
}
sMasterConfig.MasterOutputTrigger = TIM_TRGO_RESET;
sMasterConfig.MasterSlaveMode = TIM_MASTERSLAVEMODE_DISABLE;
if (HAL_TIMEx_MasterConfigSynchronization(&htim3, &sMasterConfig) != HAL_OK)
{
Error_Handler();
}
sConfigOC.OCMode = TIM_OCMODE_PWM1;
sConfigOC.Pulse = 0;
sConfigOC.OCPolarity = TIM_OCPOLARITY_HIGH;
sConfigOC.OCFastMode = TIM_OCFAST_DISABLE;
if (HAL_TIM_PWM_ConfigChannel(&htim3, &sConfigOC, TIM_CHANNEL_2) != HAL_OK)
{
Error_Handler();
}
HAL_TIM_MspPostInit(&htim3);

}

static void MX_USART2_UART_Init(void)
{

huart2.Instance = USART2;
huart2.Init.BaudRate = 115200;
huart2.Init.WordLength = UART_WORDLENGTH_8B;
huart2.Init.StopBits = UART_STOPBITS_1;
huart2.Init.Parity = UART_PARITY_NONE;
huart2.Init.Mode = UART_MODE_TX_RX;
huart2.Init.HwFlowCtl = UART_HWCONTROL_NONE;
huart2.Init.OverSampling = UART_OVERSAMPLING_16;
if (HAL_UART_Init(&huart2) != HAL_OK)
{
Error_Handler();
}

}

static void MX_GPIO_Init(void)
{
GPIO_InitTypeDef GPIO_InitStruct = {0};

/* GPIO Ports Clock Enable */
__HAL_RCC_GPIOH_CLK_ENABLE();
__HAL_RCC_GPIOA_CLK_ENABLE();
__HAL_RCC_GPIOB_CLK_ENABLE();

/*Configure GPIO pin Output Level */
HAL_GPIO_WritePin(GPIOA, GPIO_PIN_4|GPIO_PIN_5|GPIO_PIN_6, GPIO_PIN_RESET);

/*Configure GPIO pins : PA4 PA5 PA6 */
GPIO_InitStruct.Pin = GPIO_PIN_4|GPIO_PIN_5|GPIO_PIN_6;
GPIO_InitStruct.Mode = GPIO_MODE_OUTPUT_PP;
GPIO_InitStruct.Pull = GPIO_NOPULL;
GPIO_InitStruct.Speed = GPIO_SPEED_FREQ_LOW;
HAL_GPIO_Init(GPIOA, &GPIO_InitStruct);

}

void Error_Handler(void)
{
__disable_irq();
while (1)
{
}
}
